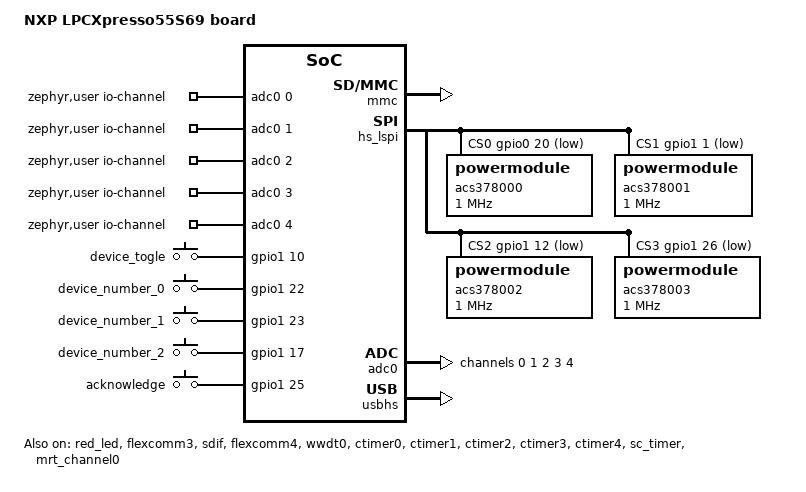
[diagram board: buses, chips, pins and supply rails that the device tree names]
/*
 * Copyright (c) 2019, NXP
 *
 * SPDX-License-Identifier: Apache-2.0
 */

/dts-v1/;

#include <nxp/nxp_lpc55S6x.dtsi>
#include "pduv2.dtsi"
#include <zephyr/dt-bindings/pwm/pwm.h>
#include <zephyr/dt-bindings/input/input-event-codes.h>
#include <zephyr/dt-bindings/adc/mcux-lpadc.h>

/ {
	model = "NXP LPCXpresso55S69 board";
	compatible = "nxp,lpc55xxx", "nxp,lpc";

	cpus {
		/delete-node/ cpu@1;
	};

	aliases{
		watchdog0 = &wwdt0;
		/* For pwm test suites */
		pwm-0 = &sc_timer;
		sdhc0 = &sdhc0;
		sdhc0 = &sdif;
	};

	chosen {
		zephyr,sram = &sram0;
		zephyr,flash = &flash0;
		zephyr,code-partition = &slot0_partition;
		zephyr,code-cpu1-partition = &slot0_ns_partition;
		zephyr,sram-cpu1-partition = &sram3;
		zephyr,console = &flexcomm3;
		zephyr,shell-uart = &flexcomm3;
		zephyr,entropy = &rng;
	};

	zephyr,user {
		io-channels = <&adc0 0 &adc0 1 &adc0 2 &adc0 3 &adc0 4>;
	};

	devtogles{
		compatible = "gpio-keys";
		device_togle: dev_togle{
			gpios = <&gpio1 10 (GPIO_ACTIVE_HIGH | GPIO_PULL_UP)>;
			zephyr,code = <INPUT_KEY_0>;
			status = "okay";
		};
		device_number_0: dev_n0{
			gpios = <&gpio1 22 (GPIO_ACTIVE_HIGH | GPIO_PULL_UP)>;
			zephyr,code = <INPUT_KEY_1>;
			status = "okay";
		};
		device_number_1: dev_n1{
			gpios = <&gpio1 23 (GPIO_ACTIVE_HIGH | GPIO_PULL_UP)>;
			zephyr,code = <INPUT_KEY_2>;
			status = "okay";
		};
		device_number_2: dev_n2{
			gpios = <&gpio1 17 (GPIO_ACTIVE_HIGH | GPIO_PULL_UP)>;
			zephyr,code = <INPUT_KEY_3>;
			status = "okay";
		};
	};

	data_output_interrupt: dot{
		compatible = "gpio-keys";
		acknowledge: ack{
			gpios = <&gpio1 25 (GPIO_ACTIVE_HIGH | GPIO_PULL_DOWN)>;
			zephyr,code = <INPUT_KEY_0>;
			status = "okay";
		};
	};

};

/*
 * Default for this board is to allocate SRAM0-2 to cpu0 but the
 * application can have an application specific device tree to
 * allocate the SRAM0-4 differently.
 *
 * For example, SRAM0-3 could be allocated to cpu0 with only SRAM4
 * for cpu1. This would require the zephyr,sram chosen value for cpu1
 * to be changed to sram4 and the value of sram0 to have a DT_SIZE_K
 * of 256.
 *
 */
&sram0 {
	compatible = "mmio-sram";
	reg = <0x20000000 DT_SIZE_K(192)>;
};

&gpio0 {
	status = "okay";
};

&gpio1 {
	status = "okay";
};

&red_led {
	status = "okay";
};


&flexcomm3 {
	status = "okay";
};


&sdif {
	status = "okay";
	pinctrl-0 = <&pinmux_sdif_default>;
	pinctrl-names = "default";
	mmc {
		compatible = "zephyr,sdmmc-disk";
		status = "okay";
	};
};

&flexcomm4{
	status = "okay";
	compatible = "powermodule";
	dmas = <&dma0 2>, <&dma0 3>;
	dma-names = "rx", "tx";
	spi-max-frequency = <1000000>;
	cs-gpios  = <&gpio0 18 GPIO_ACTIVE_LOW>,
				<&gpio1 15 GPIO_ACTIVE_LOW>,
				<&gpio0 17 GPIO_ACTIVE_LOW>,
				<&gpio1 22 GPIO_ACTIVE_LOW>;

	/*
	acs378004: spi-dev-0@0 {
		reg = <0>;
		duplex = < 0 >;
        frame-format = < 0 >;
	};
	acs378005: spi-dev-5@1 {
		reg = <1>;
		duplex = < 0 >;
        frame-format = < 0 >;
	};
	acs378006: spi-dev-6@2 {
		reg = <2>;
		duplex = < 0 >;
        frame-format = < 0 >;
	};
	acs378007: spi-dev-7@3 {
		reg = <3>;
		duplex = < 0 >;
        frame-format = < 0 >;
	};
	*/
};

&hs_lspi {
	status = "okay";
	dmas = <&dma0 10>, <&dma0 11>;
	dma-names = "rx", "tx";
	cs-gpios  = <&gpio0 20 GPIO_ACTIVE_LOW>,
				<&gpio1 1 GPIO_ACTIVE_LOW>,
				<&gpio1 12 GPIO_ACTIVE_LOW>,
				<&gpio1 26 GPIO_ACTIVE_LOW>;

	acs378000: spi-dev-0@0 {
		compatible = "powermodule";
		reg = <0>;
		spi-max-frequency = <1000000>;
	};
	acs378001: spi-dev-1@1 {
		compatible = "powermodule";
		reg = <1>;
		spi-max-frequency = <1000000>;
	};
	acs378002: spi-dev-2@2 {
		compatible = "powermodule";
		reg = <2>;
		spi-max-frequency = <1000000>;
		duplex = < 0 >;
        frame-format = < 0 >;
	};
	acs378003: spi-dev-3@3 {
		compatible = "powermodule";
		reg = <3>;
		spi-max-frequency = <1000000>;
	};
};

&wwdt0 {
	status = "okay";
};

&adc0 {
	status = "okay";
	pinctrl-0 = <&pinmux_lpadc0>;
	pinctrl-names = "default";
};

&adc0 {
	#address-cells = <1>;
	#size-cells = <0>;

	channel@0 {
		reg = <0>;
		zephyr,gain = "ADC_GAIN_1";
		zephyr,reference = "ADC_REF_EXTERNAL0";
		zephyr,vref-mv = <3300>;
		zephyr,acquisition-time = <ADC_ACQ_TIME(ADC_ACQ_TIME_TICKS, 7)>;
		zephyr,resolution = <16>;
		zephyr,input-positive = <MCUX_LPADC_CH0B>;
	};
	channel@1 {
		reg = <1>;
		zephyr,gain = "ADC_GAIN_1";
		zephyr,reference = "ADC_REF_EXTERNAL0";
		zephyr,vref-mv = <3300>;
		zephyr,acquisition-time = <ADC_ACQ_TIME(ADC_ACQ_TIME_TICKS, 7)>;
		zephyr,resolution = <16>;
		zephyr,input-positive = <MCUX_LPADC_CH0A>;
	};
	channel@2 {
		reg = <2>;
		zephyr,gain = "ADC_GAIN_1";
		zephyr,reference = "ADC_REF_EXTERNAL0";
		zephyr,vref-mv = <3300>;
		zephyr,acquisition-time = <ADC_ACQ_TIME(ADC_ACQ_TIME_TICKS, 7)>;
		zephyr,resolution = <16>;
		zephyr,input-positive = <MCUX_LPADC_CH2A>;
	};
	channel@3 {
		reg = <3>;
		zephyr,gain = "ADC_GAIN_1";
		zephyr,reference = "ADC_REF_EXTERNAL0";
		zephyr,vref-mv = <3300>;
		zephyr,acquisition-time = <ADC_ACQ_TIME(ADC_ACQ_TIME_TICKS, 7)>;
		zephyr,resolution = <16>;
		zephyr,input-positive = <MCUX_LPADC_CH3A>;
	};
	channel@4 {
		reg = <4>;
		zephyr,gain = "ADC_GAIN_1";
		zephyr,reference = "ADC_REF_EXTERNAL0";
		zephyr,vref-mv = <3300>;
		zephyr,acquisition-time = <ADC_ACQ_TIME(ADC_ACQ_TIME_TICKS, 7)>;
		zephyr,resolution = <16>;
		zephyr,input-positive = <MCUX_LPADC_CH4A>;
	};
};

&mailbox0 {
	status = "okay";
};

&usbfs {
	pinctrl-0 = <&pinmux_usbfs>;
	pinctrl-names = "default";
};

zephyr_udc0: &usbhs {
	status = "okay";
};

&ctimer0 {
	status = "okay";
};

&ctimer1 {
	status = "okay";
};

&ctimer2 {
	status = "okay";
};

&ctimer3 {
	status = "okay";
};

&ctimer4 {
	status = "okay";
};

&sc_timer {
	status = "okay";
};

&dma0 {
	status = "okay";
};

&dma1 {
	status = "okay";
};

&mrt_channel0 {
	status = "okay";
};
